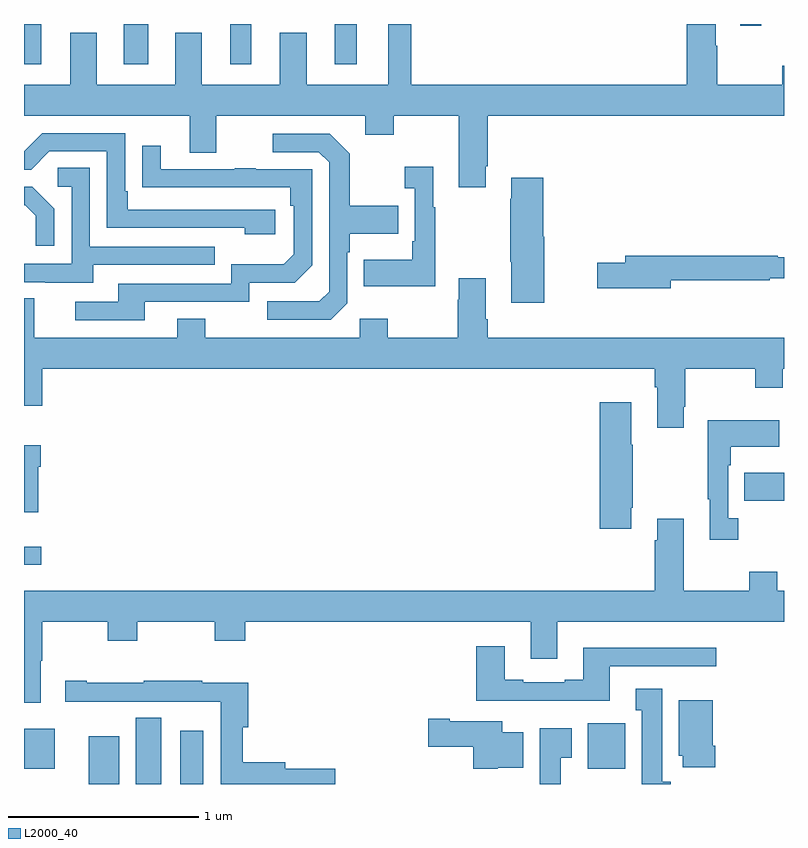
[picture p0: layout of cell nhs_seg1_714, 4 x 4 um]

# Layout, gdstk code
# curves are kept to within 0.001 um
import gdstk
lib = gdstk.Library(unit=1e-6, precision=1e-09)
def R(c, l, rs):  # rectangles x0, y0, x1, y1
    for r in rs: c.add(gdstk.rectangle(r[:2], r[2:], *l))
def P(c, l, *ps):  # polygons
    for p in ps: c.add(gdstk.Polygon(p, *l))
L2000_40 = (2000, 40)

nhs_seg1_714 = lib.new_cell('nhs_seg1_714')
R(nhs_seg1_714, L2000_40, [(149.342,564.199,149.5,564.451), (149.588,564.199,149.722,564.548), (149.822,564.199,149.944,564.478), (149,564.278,149.161,564.49), (151.967,564.278,152.164,564.52), (149,565.352,149.092,565.449), (152.791,565.69,153,565.837), (149,567.987,149.092,568.199), (149.525,567.987,149.653,568.199), (150.086,567.987,150.196,568.199), (150.635,567.987,150.751,568.199), (152.769,568.191,152.881,568.199)])
P(nhs_seg1_714, L2000_40, [(151.429,567.451),(151.442,567.451),(151.442,567.716),(153,567.716),(153,567.979),(152.992,567.979),(152.992,567.88),(152.649,567.88),(152.649,568.085),(152.641,568.085),(152.641,568.199),(152.489,568.199),(152.489,567.88),(151.039,567.88),(151.039,568.199),(150.917,568.199),(150.917,567.88),(150.487,567.88),(150.487,568.153),(150.347,568.153),(150.347,567.88),(149.935,567.88),(149.935,568.153),(149.795,568.153),(149.795,567.88),(149.383,567.88),(149.383,568.153),(149.243,568.153),(149.243,567.88),(149,567.88),(149,567.716),(149.873,567.716),(149.873,567.522),(150.013,567.522),(150.013,567.716),(150.797,567.716),(150.797,567.617),(150.945,567.617),(150.945,567.716),(151.289,567.716),(151.289,567.339),(151.429,567.339)],
  [(150.322,567.222),(149.545,567.222),(149.545,567.319),(149.532,567.319),(149.532,567.624),(149.097,567.624),(149,567.528),(149,567.432),(149.037,567.432),(149.133,567.528),(149.436,567.528),(149.436,567.126),(150.161,567.126),(150.161,567.092),(150.322,567.092)],
  [(150.702,566.73),(150.702,566.999),(150.715,566.999),(150.715,567.095),(150.971,567.095),(150.971,567.243),(150.715,567.243),(150.715,567.515),(150.609,567.621),(150.309,567.621),(150.309,567.525),(150.552,567.525),(150.606,567.471),(150.606,566.79),(150.555,566.739),(150.279,566.739),(150.279,566.643),(150.615,566.643)],
  [(149.635,566.736),(150.186,566.736),(150.186,566.838),(150.426,566.838),(150.516,566.928),(150.516,567.435),(150.221,567.435),(150.221,567.44),(150.109,567.44),(150.109,567.435),(149.719,567.435),(149.719,567.559),(149.623,567.559),(149.623,567.34),(150.4,567.339),(150.4,567.242),(150.42,567.242),(150.42,566.988),(150.367,566.935),(150.09,566.935),(150.09,566.832),(149.495,566.832),(149.495,566.736),(149.271,566.736),(149.271,566.64),(149.635,566.64)],
  [(151.165,567.235),(151.153,567.235),(151.153,567.448),(151.005,567.448),(151.005,567.335),(151.056,567.335),(151.056,567.055),(151.044,567.055),(151.044,566.959),(150.787,566.959),(150.787,566.819),(151.165,566.819)],
  [(149.365,566.931),(150.005,566.931),(150.005,567.027),(149.346,567.027),(149.346,567.443),(149.178,567.443),(149.178,567.342),(149.25,567.342),(149.25,566.937),(149,566.937),(149,566.841),(149.111,566.841),(149.111,566.837),(149.365,566.837)],
  [(151.738,567.078),(151.733,567.078),(151.733,567.391),(151.565,567.391),(151.565,567.278),(151.558,567.278),(151.558,566.947),(151.565,566.947),(151.565,566.732),(151.738,566.732)],
  [(149.16,567.226),(149.044,567.342),(149,567.342),(149,567.246),(149.006,567.246),(149.063,567.189),(149.063,567.033),(149.16,567.033)],
  [(152.404,566.85),(152.924,566.85),(152.924,566.862),(153,566.862),(153,566.971),(152.968,566.971),(152.968,566.978),(152.165,566.978),(152.165,566.942),(152.016,566.942),(152.016,566.807),(152.404,566.807)],
  [(152.321,566.288),(152.333,566.288),(152.333,566.073),(152.473,566.073),(152.473,566.185),(152.481,566.185),(152.481,566.384),(152.848,566.384),(152.848,566.285),(152.994,566.285),(152.994,566.384),(153,566.384),(153,566.548),(151.442,566.548),(151.442,566.644),(151.429,566.644),(151.429,566.86),(151.289,566.86),(151.289,566.747),(151.282,566.747),(151.282,566.548),(150.915,566.548),(150.915,566.647),(150.768,566.647),(150.768,566.548),(149.955,566.548),(149.955,566.647),(149.807,566.647),(149.807,566.548),(149.053,566.548),(149.053,566.756),(149,566.756),(149,566.19),(149.096,566.19),(149.096,566.384),(152.321,566.384)],
  [(152.197,565.654),(152.205,565.654),(152.205,565.985),(152.197,565.985),(152.197,566.209),(152.03,566.209),(152.03,565.542),(152.197,565.542)],
  [(152.758,565.598),(152.706,565.598),(152.706,565.877),(152.719,565.877),(152.719,565.973),(152.975,565.973),(152.975,566.113),(152.598,566.113),(152.598,565.697),(152.609,565.697),(152.609,565.485),(152.758,565.485)],
  [(149.074,565.868),(149.087,565.868),(149.087,565.981),(149,565.981),(149,565.628),(149.074,565.628)],
  [(149,564.627),(149.089,564.627),(149.089,564.848),(149.097,564.848),(149.097,565.052),(149.44,565.052),(149.44,564.953),(149.595,564.953),(149.595,565.052),(150.004,565.052),(150.004,564.953),(150.164,564.953),(150.164,565.052),(151.667,565.052),(151.667,564.858),(151.807,564.858),(151.807,565.052),(153,565.052),(153,565.216),(152.965,565.216),(152.965,565.315),(152.818,565.315),(152.818,565.216),(152.473,565.216),(152.473,565.594),(152.333,565.594),(152.333,565.481),(152.321,565.481),(152.321,565.216),(149,565.216)],
  [(152.083,564.819),(152.644,564.819),(152.644,564.916),(151.943,564.916),(151.943,564.748),(151.847,564.748),(151.847,564.735),(151.627,564.735),(151.627,564.748),(151.531,564.748),(151.531,564.925),(151.379,564.925),(151.379,564.638),(152.083,564.638)],
  [(150.637,564.278),(150.376,564.278),(150.376,564.314),(150.152,564.314),(150.152,564.497),(150.179,564.497),(150.179,564.732),(149.939,564.732),(149.939,564.742),(149.629,564.742),(149.629,564.732),(149.329,564.732),(149.329,564.742),(149.217,564.742),(149.217,564.632),(149.492,564.632),(149.492,564.633),(149.826,564.633),(149.826,564.632),(150.036,564.632),(150.036,564.199),(150.637,564.199)],
  [(152.404,564.21),(152.359,564.21),(152.359,564.7),(152.219,564.7),(152.219,564.587),(152.252,564.587),(152.252,564.199),(152.404,564.199)],
  [(152.639,564.4),(152.626,564.4),(152.626,564.64),(152.447,564.64),(152.447,564.348),(152.468,564.348),(152.468,564.288),(152.639,564.288)],
  [(151.494,564.284),(151.627,564.284),(151.627,564.472),(151.516,564.472),(151.516,564.529),(151.24,564.529),(151.24,564.542),(151.128,564.542),(151.128,564.395),(151.364,564.395),(151.364,564.278),(151.494,564.278)],
  [(151.825,564.337),(151.882,564.337),(151.882,564.493),(151.715,564.493),(151.715,564.199),(151.825,564.199)])

lib.write_gds('nhs_seg1_714.gds')
